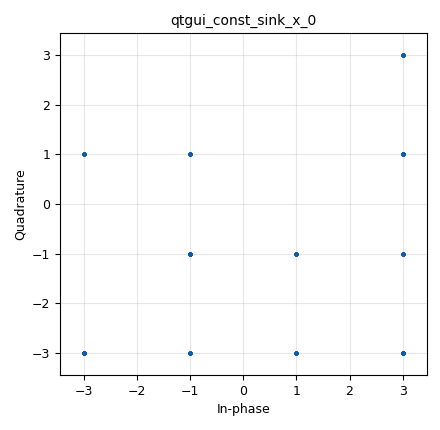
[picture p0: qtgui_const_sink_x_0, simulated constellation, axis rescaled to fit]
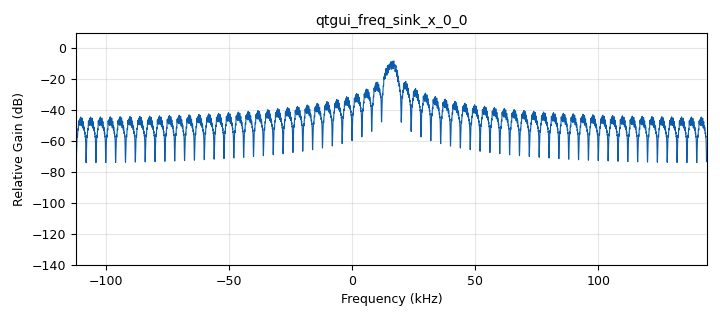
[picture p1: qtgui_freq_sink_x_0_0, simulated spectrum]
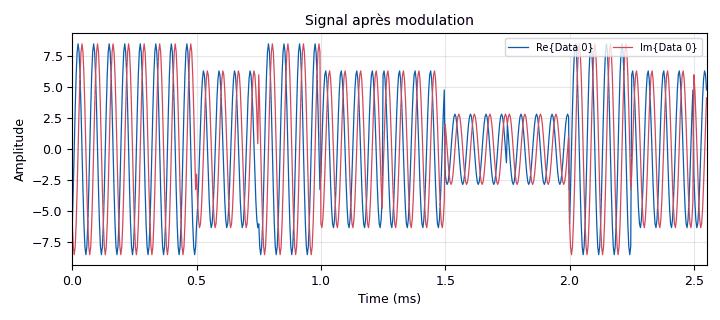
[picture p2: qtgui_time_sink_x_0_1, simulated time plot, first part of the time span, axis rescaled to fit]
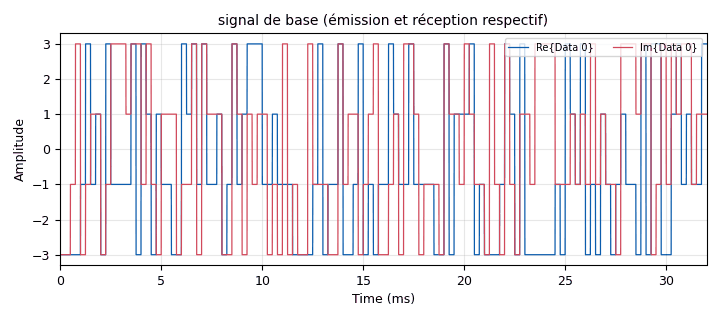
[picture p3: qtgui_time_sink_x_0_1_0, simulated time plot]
options:
  parameters:
    generate_options: qt_gui
    id: QPSK
    output_language: python
    title: Not titled yet
  states: {}

blocks:
- name: Fc
  id: variable
  parameters:
    value: '16000'
  states: {}
- name: Fs
  id: variable
  parameters:
    value: 4 * Fc
  states: {}
- name: Rb
  id: variable
  parameters:
    value: '16000'
  states: {}
- name: samp_rate
  id: variable
  parameters:
    value: '256000'
  states: {}
- name: symbol_rate
  id: variable
  parameters:
    value: Rb / 4
  states: {}
- name: analog_random_source_x_0
  id: analog_random_source_x
  parameters:
    max: '16'
    min: '0'
    num_samps: '1024'
    repeat: 'True'
    type: byte
  states: {}
- name: analog_sig_source_x_0
  id: analog_sig_source_x
  parameters:
    amp: '2'
    freq: Fc
    offset: '0'
    phase: '0'
    samp_rate: samp_rate
    type: complex
    waveform: analog.GR_COS_WAVE
  states: {}
- name: blocks_multiply_xx_0_1
  id: blocks_multiply_xx
  parameters:
    type: complex
  states: {}
- name: blocks_repeat_0
  id: blocks_repeat
  parameters:
    interp: int(samp_rate/symbol_rate)
    type: complex
  states: {}
- name: blocks_throttle2_0_0_1
  id: blocks_throttle2
  parameters:
    samples_per_second: samp_rate
    type: complex
  states: {}
- name: epy_block_1
  id: epy_block
  parameters:
    _source_code: |-
      import numpy as np
      from gnuradio import gr

      class blk(gr.sync_block):
          def __init__(self):
              gr.sync_block.__init__(
                  self,
                  name='Mapping 16QAM',
                  in_sig=[np.uint8],
                  out_sig=[np.complex64],
              )
              niveaux = [-3, -1, 1, 3]
              # Table de 16 symboles complexes : I + jQ
              self.symboles = np.array(
                  [complex(i, q) for i in niveaux for q in niveaux],
                  dtype=np.complex64
              )

          def work(self, input_items, output_items):
              entiers = input_items[0]
              sortie = output_items[0]

              # Mapping vectorisé : chaque entier (0 à 15) indexe la table
              sortie[:] = self.symboles[entiers]

              return len(sortie)
  states: {}
- name: note_0
  id: note
  parameters:
    note: 4 périodes par symbole
  states: {}
- name: note_0_0
  id: note
  parameters:
    note: symbol_rate < Fc*2
  states: {}
- name: note_0_0_0
  id: note
  parameters:
    note: Rb = log2(2^M) * symbol_rate
  states: {}
- name: note_0_2
  id: note
  parameters:
    note: Fs > 2 * Fc
  states: {}
- name: osmosdr_sink_0
  id: osmosdr_sink
  parameters:
    bb_gain0: '20'
    freq0: 10e6
    gain0: '10'
    if_gain0: '20'
    sample_rate: samp_rate
    sync: sync
    type: fc32
  states: {state: disabled}
- name: qtgui_const_sink_x_0
  id: qtgui_const_sink_x
  parameters:
    size: '1024'
    type: complex
  states: {}
- name: qtgui_freq_sink_x_0_0
  id: qtgui_freq_sink_x
  parameters:
    average: '0.05'
    bw: samp_rate
    fc: Fc
    fftsize: '4096'
    norm_window: 'True'
    showports: 'True'
    type: complex
  states: {}
- name: qtgui_time_sink_x_0_1
  id: qtgui_time_sink_x
  parameters:
    name: Signal après modulation
    size: '8192'
    srate: samp_rate
    type: complex
    ymax: '2'
    ymin: '-2'
  states: {}
- name: qtgui_time_sink_x_0_1_0
  id: qtgui_time_sink_x
  parameters:
    autoscale: 'True'
    name: signal de base (émission et réception respectif)
    size: '8192'
    srate: samp_rate
    type: complex
    update_time: '1'
    ymax: '2'
    ymin: '-2'
  states: {}

connections:
- [analog_random_source_x_0, '0', epy_block_1, '0']
- [analog_sig_source_x_0, '0', blocks_multiply_xx_0_1, '0']
- [blocks_multiply_xx_0_1, '0', qtgui_time_sink_x_0_1, '0']
- [blocks_repeat_0, '0', blocks_multiply_xx_0_1, '1']
- [blocks_repeat_0, '0', qtgui_const_sink_x_0, '0']
- [blocks_repeat_0, '0', qtgui_freq_sink_x_0_0, '0']
- [blocks_repeat_0, '0', qtgui_time_sink_x_0_1_0, '0']
- [blocks_throttle2_0_0_1, '0', blocks_repeat_0, '0']
- [epy_block_1, '0', blocks_throttle2_0_0_1, '0']

metadata:
  file_format: 1
  grc_version: 3.10.12.0
